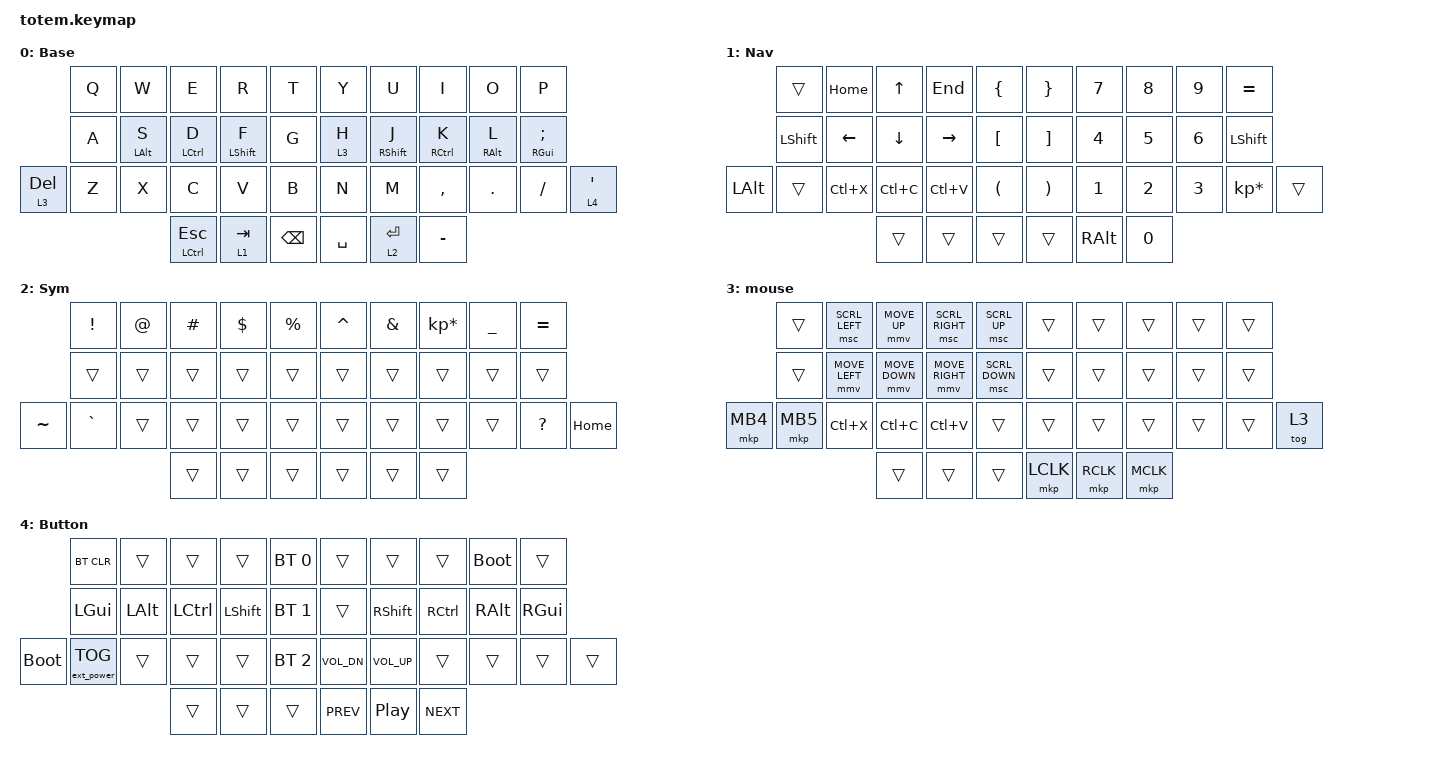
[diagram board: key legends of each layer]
//
//                                                        ▀▀▀▀▀     ▀▀▀▀▀          ▀▀█▀▀
//                                                        ▄▀▀▀▄  ▄  ▄▀▀▀▄  ▄  ▄▀▀▀▄  █  ▄▀▀▀▄
//                                                        █   █  █  █   █  █  █   █  █  █   █
//                                                         ▀▀▀   █   ▀▀▀   █   ▀▀▀   ▀   ▀▀▀
//                                                               █      ▄▄▄█▄▄▄    █   █  
//                                                               ▀      █  █  █     █▄█
//                                                             ▀▀▀▀▀    █  █  █      ▀
//                                                                      ▀  ▀  ▀
//
// ▄▄▄▄▄▄▄▄▄▄▄▄▄▄▄▄▄▄▄▄▄▄▄▄▄▄▄▄▄▄▄▄▄▄▄▄▄▄▄▄▄▄▄▄▄▄▄▄▄▄▄▄▄▄▄▄▄▄▄▄▄▄▄▄▄▄▄▄▄▄▄▄▄▄▄▄▄▄▄▄▄▄▄▄▄▄▄▄▄▄▄▄▄▄▄▄▄▄▄▄▄▄▄▄▄▄▄▄▄▄▄▄▄▄▄▄▄▄▄▄▄▄▄▄▄▄▄▄▄▄▄▄▄▄▄▄▄▄▄▄▄▄▄▄▄▄▄▄▄



#include <behaviors.dtsi>
#include <dt-bindings/zmk/bt.h>
#include <dt-bindings/zmk/ext_power.h>
#include <dt-bindings/zmk/keys.h>

#define ZMK_POINTING_DEFAULT_MOVE_VAL 2000 
#define ZMK_POINTING_DEFAULT_SCRL_VAL 20

#include <dt-bindings/zmk/pointing.h>

#define Base        0
#define Media       1
#define Nav         2
#define Mouse       3
#define Sym         4
#define Num         5
#define Fun         6
#define Button      7
#define Game        8
#define Gameplus    9

&mt {
    quick-tap-ms = <100>;
    global-quick-tap;
    flavor = "tap-preferred";
    tapping-term-ms = <170>;
};

&lt {
    tapping-term-ms = <240>;
    flavor = "balanced";
    quick-tap-ms = <150>;
};

/ {
    behaviors {
        hm: homerow_mods {
            compatible = "zmk,behavior-hold-tap";
            label = "HOMEROW_MODS";
            #binding-cells = <2>;
            flavor = "tap-preferred";
            tapping-term-ms = <200>;
            quick-tap-ms = <125>;
            global-quick-tap;
            bindings = <&kp>, <&kp>;
        };
    };

    combos {
        compatible = "zmk,combos";

        mousey {
            bindings = <&tog 3>;
            key-positions = <13 16>;
        };

        caps {
            bindings = <&kp CAPSLOCK>;
            key-positions = <35 34>;
        };
    };

    keymap {
        compatible = "zmk,keymap";

        Base {
            label = "Base";
            bindings = <
           &kp Q  &kp W       &kp E             &kp R         &kp T            &kp Y      &kp U        &kp I        &kp O       &kp P
           &kp A  &hm LALT S  &hm LCTRL D       &hm LSHIFT F  &kp G            &lt 3 H    &hm RSHFT J  &hm RCTRL K  &hm RALT L  &hm RGUI SEMICOLON
&lt 3 DEL  &kp Z  &kp X       &kp C             &kp V         &kp B            &kp N      &kp M        &kp COMMA    &kp DOT     &kp SLASH           &lt 4 APOSTROPHE
                              &mt LCTRL ESCAPE  &lt 1 TAB     &kp BACKSPACE    &kp SPACE  &lt 2 ENTER  &kp MINUS
            >;
        };

        Nav {
            label = "Nav";
            bindings = <
              &trans          &kp HOME   &kp UP_ARROW  &kp END    &kp LBRC    &kp RBRC  &kp NUMBER_7   &kp NUMBER_8  &kp NUMBER_9  &kp EQUAL
              &kp LEFT_SHIFT  &kp LEFT   &kp DOWN      &kp RIGHT  &kp LBKT    &kp RBKT  &kp NUMBER_4   &kp NUMBER_5  &kp NUMBER_6  &kp LEFT_SHIFT
&kp LEFT_ALT  &trans          &kp LC(X)  &kp LC(C)     &kp LC(V)  &kp LPAR    &kp RPAR  &kp NUMBER_1   &kp NUMBER_2  &kp NUMBER_3  &kp KP_MULTIPLY  &trans
                                         &trans        &trans     &trans      &trans    &kp RIGHT_ALT  &kp NUMBER_0
            >;
        };

        Sym {
            label = "Sym";
            bindings = <
           &kp EXCL   &kp AT  &kp HASH  &kp DOLLAR  &kp PERCENT    &kp CARET  &kp AMPERSAND  &kp KP_ASTERISK  &kp UNDERSCORE  &kp EQUAL
           &trans     &trans  &trans    &trans      &trans         &trans     &trans         &trans           &trans          &trans
&kp TILDE  &kp GRAVE  &trans  &trans    &trans      &trans         &trans     &trans         &trans           &trans          &kp QUESTION  &kp HOME
                              &trans    &trans      &trans         &trans     &trans         &trans
            >;
        };

        mouse {
            label = "mouse";
            bindings = <
          &trans    &msc SCRL_LEFT  &mmv MOVE_UP    &msc SCRL_RIGHT  &msc SCRL_UP      &trans     &trans     &trans     &trans  &trans
          &trans    &mmv MOVE_LEFT  &mmv MOVE_DOWN  &mmv MOVE_RIGHT  &msc SCRL_DOWN    &trans     &trans     &trans     &trans  &trans
&mkp MB4  &mkp MB5  &kp LC(X)       &kp LC(C)       &kp LC(V)        &trans            &trans     &trans     &trans     &trans  &trans  &tog 3
                                    &trans          &trans           &trans            &mkp LCLK  &mkp RCLK  &mkp MCLK
            >;
        };

        Button {
            label = "Button";
            bindings = <
             &bt BT_CLR         &trans    &trans     &trans      &bt BT_SEL 0    &trans        &trans            &trans      &bootloader  &trans
             &kp LGUI           &kp LALT  &kp LCTRL  &kp LSHIFT  &bt BT_SEL 1    &trans        &kp RSHIFT        &kp RCTRL   &kp RALT     &kp RGUI
&bootloader  &ext_power EP_TOG  &trans    &trans     &trans      &bt BT_SEL 2    &kp C_VOL_DN  &kp C_VOLUME_UP   &trans      &trans       &trans    &trans
                                          &trans     &trans      &trans          &kp C_PREV    &kp C_PLAY_PAUSE  &kp C_NEXT
            >;
        };
    };
};
